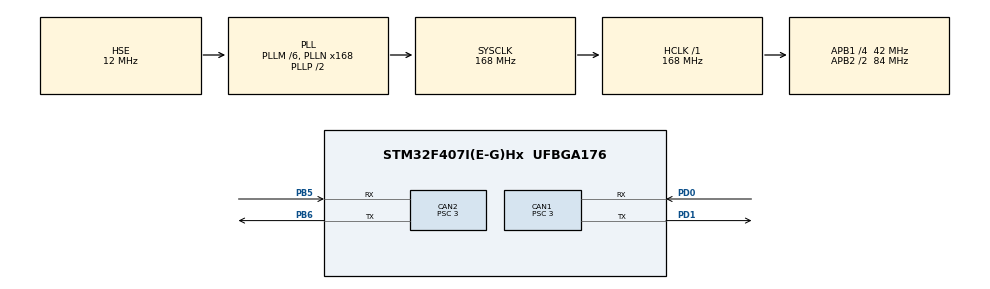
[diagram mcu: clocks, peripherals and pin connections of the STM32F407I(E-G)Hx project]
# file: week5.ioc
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CAN1.BS1=CAN_BS1_10TQ
CAN1.BS2=CAN_BS2_3TQ
CAN1.CalculateBaudRate=1000000
CAN1.CalculateTimeBit=1000
CAN1.CalculateTimeQuantum=71.42857142857143
CAN1.Prescaler=3
CAN1.TXFP=ENABLE
CAN2.BS1=CAN_BS1_10TQ
CAN2.BS2=CAN_BS2_3TQ
CAN2.CalculateBaudRate=1000000
CAN2.CalculateTimeBit=1000
CAN2.CalculateTimeQuantum=71.42857142857143
CAN2.Prescaler=3
CAN2.TXFP=ENABLE
Mcu.Family=STM32F4
Mcu.Name=STM32F407I(E-G)Hx
Mcu.Package=UFBGA176
NVIC.CAN1_RX0_IRQn=true\:5\:0\:true\:false\:true\:true\:true\:true
NVIC.CAN1_RX1_IRQn=true\:5\:0\:true\:false\:true\:true\:true\:true
NVIC.PriorityGroup=NVIC_PRIORITYGROUP_4
PA13.Mode=Serial_Wire
PA13.Signal=SYS_JTMS-SWDIO
PA14.Mode=Serial_Wire
PA14.Signal=SYS_JTCK-SWCLK
PB5.Mode=CAN_Activate
PB5.Signal=CAN2_RX
PB6.Mode=CAN_Activate
PB6.Signal=CAN2_TX
PD0.Mode=CAN_Activate
PD0.Signal=CAN1_RX
PD1.Mode=CAN_Activate
PD1.Signal=CAN1_TX
PH0-OSC_IN.Mode=HSE-External-Oscillator
PH0-OSC_IN.Signal=RCC_OSC_IN
PH1-OSC_OUT.Mode=HSE-External-Oscillator
PH1-OSC_OUT.Signal=RCC_OSC_OUT
ProjectManager.HeapSize=0x200
ProjectManager.StackSize=0x400
ProjectManager.TargetToolchain=Makefile
RCC.48MHZClocksFreq_Value=84000000
RCC.AHBFreq_Value=168000000
RCC.APB1CLKDivider=RCC_HCLK_DIV4
RCC.APB1Freq_Value=42000000
RCC.APB1TimFreq_Value=84000000
RCC.APB2CLKDivider=RCC_HCLK_DIV2
RCC.APB2Freq_Value=84000000
RCC.APB2TimFreq_Value=168000000
RCC.CortexFreq_Value=168000000
RCC.HCLKFreq_Value=168000000
RCC.HSE_VALUE=12000000
RCC.HSI_VALUE=16000000
RCC.LSE_VALUE=32768
RCC.PLLM=6
RCC.PLLN=168
RCC.PLLSourceVirtual=RCC_PLLSOURCE_HSE
RCC.SYSCLKFreq_VALUE=168000000
RCC.SYSCLKSource=RCC_SYSCLKSOURCE_PLLCLK
RCC.VCOOutputFreq_Value=336000000
board=custom

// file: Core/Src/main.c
/* USER CODE BEGIN Header */
/**
  ******************************************************************************
  * @file           : main.c
  * @brief          : Main program body
  ******************************************************************************
  * @attention
  *
  * Copyright (c) 2026 STMicroelectronics.
  * All rights reserved.
  *
  * This software is licensed under terms that can be found in the LICENSE file
  * in the root directory of this software component.
  * If no LICENSE file comes with this software, it is provided AS-IS.
  *
  ******************************************************************************
  */
/* USER CODE END Header */
#include "main.h"
#include "can.h"
#include "gpio.h"

/* USER CODE BEGIN Includes */
#include "memory.h"
#include "stdlib.h"
#include "math.h"
/* USER CODE END Includes */

/* USER CODE BEGIN PTD */
typedef struct
{
  CAN_HandleTypeDef *can_handle;
  CAN_TxHeaderTypeDef txconf;
  uint32_t tx_id;
  uint32_t tx_mailbox;
  uint8_t  tx_buff[8];
  uint8_t  rx_buff[8];
  uint32_t rx_id;
  uint8_t  rx_len;
}CANInstance;

typedef struct
{
  uint16_t ecd;
  int16_t speed_rpm;
  int16_t real_current;
  uint8_t temperature;

  int16_t real_current_handle;
  float speed_aps;
  uint16_t last_ecd;
  float angle_single_round;
  float total_angle;
  int32_t total_round;
}DJI_Motor_Measure_s;

#define PI 3.14159265358979f
float t = 0.0f;
CANInstance motor1;
DJI_Motor_Measure_s motor1_measure;
int16_t current;
float current_fitter = 0.9f;
/* USER CODE END PTD */

/* USER CODE BEGIN PD */
void MotorDataRead(uint8_t *rx_buff)
{
  motor1_measure.ecd = (uint16_t)(rx_buff[0] << 8) | rx_buff[1];
  motor1_measure.speed_rpm = (int16_t)((rx_buff[2] << 8) | rx_buff[3]);
  motor1_measure.real_current = (int16_t)((rx_buff[4] << 8) | rx_buff[5]);
  motor1_measure.temperature = rx_buff[6];
}
/* USER CODE END PD */

/* USER CODE BEGIN PV */
static void CANFIFOxCallback(CAN_HandleTypeDef *_hcan, uint32_t fifox)
{
  static CAN_RxHeaderTypeDef rxconf;
  uint8_t can_rx_buff[8];
  while (HAL_CAN_GetRxFifoFillLevel(_hcan,fifox))
  {
    HAL_CAN_GetRxMessage(_hcan,fifox,&rxconf,can_rx_buff);
    if(_hcan == motor1.can_handle && rxconf.StdId == motor1.rx_id)
    {
      motor1.rx_len = rxconf.DLC;
      memcpy(motor1.rx_buff,can_rx_buff,rxconf.DLC);
      motor1_measure.last_ecd = motor1_measure.ecd;

      MotorDataRead(can_rx_buff);

      motor1_measure.angle_single_round =360.0f/8192.0f*(float)motor1_measure.ecd;
      motor1_measure.speed_aps = (1.0f - 0.85f) * motor1_measure.speed_aps + 0.85f * (360.0f/60.0f) * (float)motor1_measure.speed_rpm;
      motor1_measure.real_current_handle = (1.0f - current_fitter) * motor1_measure.real_current_handle + current_fitter * (float)motor1_measure.real_current ;

      if(motor1_measure.ecd - motor1_measure.last_ecd > 4096)
      {
        motor1_measure.total_round--;
      }
      else if(motor1_measure.ecd - motor1_measure.last_ecd < -4096)
      {
        motor1_measure.total_round++;
      }
      motor1_measure.total_angle = motor1_measure.total_round * 360.0f + motor1_measure.angle_single_round;

      return;
    }
  }
}

void HAL_CAN_RxFifo0MsgPendingCallback(CAN_HandleTypeDef *hcan)
{
  CANFIFOxCallback(hcan, CAN_RX_FIFO0);
}

void HAL_CAN_RxFifo1MsgPendingCallback(CAN_HandleTypeDef *hcan)
{
  CANFIFOxCallback(hcan, CAN_RX_FIFO1);
}
/* USER CODE END PV */

void SystemClock_Config(void);

int main(void)
{

  /* MCU Configuration--------------------------------------------------------*/

  /* Reset of all peripherals, Initializes the Flash interface and the Systick. */
  HAL_Init();

  /* Configure the system clock */
  SystemClock_Config();

  /* Initialize all configured peripherals */
  MX_GPIO_Init();
  MX_CAN1_Init();
  MX_CAN2_Init();
  /* USER CODE BEGIN 2 */
  HAL_CAN_Start(&hcan1);
  HAL_CAN_ActivateNotification(&hcan1, CAN_IT_RX_FIFO0_MSG_PENDING);
  HAL_CAN_ActivateNotification(&hcan1, CAN_IT_RX_FIFO1_MSG_PENDING);
  HAL_CAN_Start(&hcan2);
  HAL_CAN_ActivateNotification(&hcan2, CAN_IT_RX_FIFO0_MSG_PENDING);
  HAL_CAN_ActivateNotification(&hcan2, CAN_IT_RX_FIFO1_MSG_PENDING);

  motor1.txconf.StdId = 0x200;
  motor1.txconf.IDE = CAN_ID_STD;
  motor1.txconf.RTR = CAN_RTR_DATA;
  motor1.txconf.DLC = 8;
  motor1.can_handle = &hcan1;
  motor1.tx_id = 0x200;
  motor1.rx_id = 0x201;

  CAN_FilterTypeDef can_filter_conf;
  static uint8_t can1_filter_idx = 0,can2_filter_idx = 14;
  can_filter_conf.FilterMode = CAN_FILTERMODE_IDLIST;
  can_filter_conf.FilterScale = CAN_FILTERSCALE_16BIT;
  can_filter_conf.FilterFIFOAssignment = (motor1.tx_id & 1) ? CAN_RX_FIFO0 : CAN_RX_FIFO1;
  can_filter_conf.SlaveStartFilterBank = 14;
  can_filter_conf.FilterIdLow = motor1.rx_id << 5;
  can_filter_conf.FilterBank = motor1.can_handle == &hcan1 ? (can1_filter_idx++) : (can2_filter_idx++);
  can_filter_conf.FilterActivation = CAN_FILTER_ENABLE;
  HAL_CAN_ConfigFilter(motor1.can_handle , &can_filter_conf);

  /* USER CODE END 2 */

  /* Infinite loop */
  while (1)
  {

    /* USER CODE BEGIN 3 */
    current = 1000* sin(t*PI);
    t+= 0.02f;
    if(HAL_CAN_GetTxMailboxesFreeLevel(motor1.can_handle) == 0);
    else
    {
      motor1.tx_buff[0] = (uint8_t)(current >> 8);
      motor1.tx_buff[1] = (uint8_t)(current & 0x00ff);
      motor1.tx_buff[2] = 0;
      motor1.tx_buff[3] = 0;
      motor1.tx_buff[4] = 0;
      motor1.tx_buff[5] = 0;
      motor1.tx_buff[6] = 0;
      motor1.tx_buff[7] = 0;
      HAL_CAN_AddTxMessage(motor1.can_handle,&motor1.txconf,motor1.tx_buff,&motor1.tx_mailbox);
    }
    HAL_Delay(10);
  }
  /* USER CODE END 3 */
}

void SystemClock_Config(void)
{
  RCC_OscInitTypeDef RCC_OscInitStruct = {0};
  RCC_ClkInitTypeDef RCC_ClkInitStruct = {0};

  /** Configure the main internal regulator output voltage
  */
  __HAL_RCC_PWR_CLK_ENABLE();
  __HAL_PWR_VOLTAGESCALING_CONFIG(PWR_REGULATOR_VOLTAGE_SCALE1);

  /** Initializes the RCC Oscillators according to the specified parameters
  * in the RCC_OscInitTypeDef structure.
  */
  RCC_OscInitStruct.OscillatorType = RCC_OSCILLATORTYPE_HSE;
  RCC_OscInitStruct.HSEState = RCC_HSE_ON;
  RCC_OscInitStruct.PLL.PLLState = RCC_PLL_ON;
  RCC_OscInitStruct.PLL.PLLSource = RCC_PLLSOURCE_HSE;
  RCC_OscInitStruct.PLL.PLLM = 6;
  RCC_OscInitStruct.PLL.PLLN = 168;
  RCC_OscInitStruct.PLL.PLLP = RCC_PLLP_DIV2;
  RCC_OscInitStruct.PLL.PLLQ = 4;
  if (HAL_RCC_OscConfig(&RCC_OscInitStruct) != HAL_OK)
  {
    Error_Handler();
  }

  /** Initializes the CPU, AHB and APB buses clocks
  */
  RCC_ClkInitStruct.ClockType = RCC_CLOCKTYPE_HCLK|RCC_CLOCKTYPE_SYSCLK
                              |RCC_CLOCKTYPE_PCLK1|RCC_CLOCKTYPE_PCLK2;
  RCC_ClkInitStruct.SYSCLKSource = RCC_SYSCLKSOURCE_PLLCLK;
  RCC_ClkInitStruct.AHBCLKDivider = RCC_SYSCLK_DIV1;
  RCC_ClkInitStruct.APB1CLKDivider = RCC_HCLK_DIV4;
  RCC_ClkInitStruct.APB2CLKDivider = RCC_HCLK_DIV2;

  if (HAL_RCC_ClockConfig(&RCC_ClkInitStruct, FLASH_LATENCY_5) != HAL_OK)
  {
    Error_Handler();
  }
}

void Error_Handler(void)
{
  __disable_irq();
  while (1)
  {
  }
}
